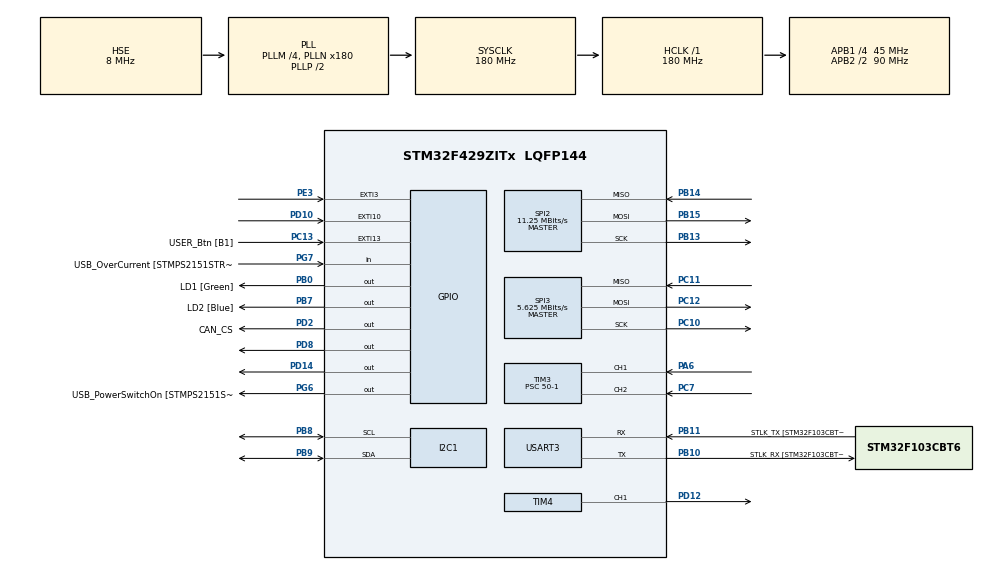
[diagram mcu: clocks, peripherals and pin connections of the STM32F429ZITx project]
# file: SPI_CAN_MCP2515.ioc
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Dma.Request0=TIM3_CH2
Dma.Request1=TIM3_CH1/TRIG
Dma.TIM3_CH1/TRIG.1.Direction=DMA_PERIPH_TO_MEMORY
Dma.TIM3_CH1/TRIG.1.FIFOMode=DMA_FIFOMODE_DISABLE
Dma.TIM3_CH1/TRIG.1.Instance=DMA1_Stream4
Dma.TIM3_CH1/TRIG.1.MemDataAlignment=DMA_MDATAALIGN_HALFWORD
Dma.TIM3_CH1/TRIG.1.MemInc=DMA_MINC_ENABLE
Dma.TIM3_CH1/TRIG.1.Mode=DMA_CIRCULAR
Dma.TIM3_CH1/TRIG.1.PeriphDataAlignment=DMA_PDATAALIGN_HALFWORD
Dma.TIM3_CH1/TRIG.1.PeriphInc=DMA_PINC_DISABLE
Dma.TIM3_CH1/TRIG.1.Priority=DMA_PRIORITY_LOW
Dma.TIM3_CH2.0.Direction=DMA_PERIPH_TO_MEMORY
Dma.TIM3_CH2.0.FIFOMode=DMA_FIFOMODE_DISABLE
Dma.TIM3_CH2.0.Instance=DMA1_Stream5
Dma.TIM3_CH2.0.MemDataAlignment=DMA_MDATAALIGN_HALFWORD
Dma.TIM3_CH2.0.MemInc=DMA_MINC_ENABLE
Dma.TIM3_CH2.0.Mode=DMA_CIRCULAR
Dma.TIM3_CH2.0.PeriphDataAlignment=DMA_PDATAALIGN_HALFWORD
Dma.TIM3_CH2.0.PeriphInc=DMA_PINC_DISABLE
Dma.TIM3_CH2.0.Priority=DMA_PRIORITY_LOW
Mcu.Family=STM32F4
Mcu.Name=STM32F429ZITx
Mcu.Package=LQFP144
NVIC.DMA1_Stream4_IRQn=true\:0\:0\:false\:false\:true\:false\:true
NVIC.DMA1_Stream5_IRQn=true\:0\:0\:false\:false\:true\:false\:true
NVIC.EXTI15_10_IRQn=true\:0\:0\:false\:false\:true\:true\:true
NVIC.PriorityGroup=NVIC_PRIORITYGROUP_4
NVIC.SPI2_IRQn=true\:0\:0\:false\:false\:true\:true\:true
NVIC.SPI3_IRQn=true\:0\:0\:false\:false\:true\:true\:true
NVIC.TIM3_IRQn=true\:0\:0\:false\:false\:true\:true\:true
NVIC.USART3_IRQn=true\:0\:0\:false\:false\:true\:true\:true
PA1.GPIO_Label=RMII_REF_CLK [LAN8742A-CZ-TR_REFCLK0]
PA1.Signal=ETH_REF_CLK
PA10.GPIO_Label=USB_ID
PA10.Signal=USB_OTG_FS_ID
PA11.GPIO_Label=USB_DM
PA11.Signal=USB_OTG_FS_DM
PA12.GPIO_Label=USB_DP
PA12.Signal=USB_OTG_FS_DP
PA13.GPIO_Label=TMS
PA13.Mode=Serial_Wire
PA13.Signal=SYS_JTMS-SWDIO
PA14.GPIO_Label=TCK
PA14.Mode=Serial_Wire
PA14.Signal=SYS_JTCK-SWCLK
PA2.GPIO_Label=RMII_MDIO [LAN8742A-CZ-TR_MDIO]
PA2.Signal=ETH_MDIO
PA6.Signal=S_TIM3_CH1
PA7.GPIO_Label=RMII_CRS_DV [LAN8742A-CZ-TR_CRS_DV]
PA7.Signal=ETH_CRS_DV
PA8.GPIO_Label=USB_SOF [TP1]
PA8.Signal=USB_OTG_FS_SOF
PA9.GPIO_Label=USB_VBUS
PA9.Signal=USB_OTG_FS_VBUS
PB0.GPIO_Label=LD1 [Green]
PB0.Signal=GPIO_Output
PB10.GPIO_Label=STLK_RX [STM32F103CBT6_PA3]
PB10.Mode=Asynchronous
PB10.Signal=USART3_TX
PB11.GPIO_Label=STLK_TX [STM32F103CBT6_PA2]
PB11.Mode=Asynchronous
PB11.Signal=USART3_RX
PB13.Mode=Full_Duplex_Master
PB13.Signal=SPI2_SCK
PB14.Mode=Full_Duplex_Master
PB14.Signal=SPI2_MISO
PB15.Mode=Full_Duplex_Master
PB15.Signal=SPI2_MOSI
PB7.GPIO_Label=LD2 [Blue]
PB7.Signal=GPIO_Output
PB8.Mode=I2C
PB8.Signal=I2C1_SCL
PB9.Mode=I2C
PB9.Signal=I2C1_SDA
PC1.GPIO_Label=RMII_MDC [LAN8742A-CZ-TR_MDC]
PC1.Signal=ETH_MDC
PC10.Mode=Full_Duplex_Master
PC10.Signal=SPI3_SCK
PC11.Mode=Full_Duplex_Master
PC11.Signal=SPI3_MISO
PC12.Mode=Full_Duplex_Master
PC12.Signal=SPI3_MOSI
PC13.GPIO_Label=USER_Btn [B1]
PC13.Signal=GPXTI13
PC14/OSC32_IN.Mode=LSE-External-Oscillator
PC14/OSC32_IN.Signal=RCC_OSC32_IN
PC15/OSC32_OUT.Mode=LSE-External-Oscillator
PC15/OSC32_OUT.Signal=RCC_OSC32_OUT
PC4.GPIO_Label=RMII_RXD0 [LAN8742A-CZ-TR_RXD0]
PC4.Signal=ETH_RXD0
PC5.GPIO_Label=RMII_RXD1 [LAN8742A-CZ-TR_RXD1]
PC5.Signal=ETH_RXD1
PC7.Signal=S_TIM3_CH2
PD10.GPIO_PuPd=GPIO_PULLUP
PD10.Signal=GPXTI10
PD12.Signal=S_TIM4_CH1
PD14.Signal=GPIO_Output
PD2.GPIO_Label=CAN_CS
PD2.GPIO_Speed=GPIO_SPEED_FREQ_MEDIUM
PD2.PinState=GPIO_PIN_SET
PD2.Signal=GPIO_Output
PD8.GPIO_Speed=GPIO_SPEED_FREQ_MEDIUM
PD8.PinState=GPIO_PIN_SET
PD8.Signal=GPIO_Output
PE3.GPIO_PuPd=GPIO_PULLUP
PE3.Signal=GPXTI3
PG11.GPIO_Label=RMII_TX_EN [LAN8742A-CZ-TR_TXEN]
PG11.Signal=ETH_TX_EN
PG13.GPIO_Label=RMII_TXD0 [LAN8742A-CZ-TR_TXD0]
PG13.Signal=ETH_TXD0
PG6.GPIO_Label=USB_PowerSwitchOn [STMPS2151STR_EN]
PG6.Signal=GPIO_Output
PG7.GPIO_Label=USB_OverCurrent [STMPS2151STR_FAULT]
PG7.Signal=GPIO_Input
PH0/OSC_IN.GPIO_Label=MCO [STM32F103CBT6_PA8]
PH0/OSC_IN.Mode=HSE-External-Clock-Source
PH0/OSC_IN.Signal=RCC_OSC_IN
PH1/OSC_OUT.Mode=HSE-External-Clock-Source
PH1/OSC_OUT.Signal=RCC_OSC_OUT
ProjectManager.HeapSize=0x200
ProjectManager.StackSize=0x400
ProjectManager.TargetToolchain=MDK-ARM V5.27
RCC.48MHZClocksFreq_Value=90000000
RCC.AHBFreq_Value=180000000
RCC.APB1CLKDivider=RCC_HCLK_DIV4
RCC.APB1Freq_Value=45000000
RCC.APB1TimFreq_Value=90000000
RCC.APB2CLKDivider=RCC_HCLK_DIV2
RCC.APB2Freq_Value=90000000
RCC.APB2TimFreq_Value=180000000
RCC.CortexFreq_Value=180000000
RCC.HCLKFreq_Value=180000000
RCC.HSE_VALUE=8000000
RCC.HSI_VALUE=16000000
RCC.PLLM=4
RCC.PLLMUL=RCC_PLL_MUL9
RCC.PLLN=180
RCC.PLLSourceVirtual=RCC_PLLSOURCE_HSE
RCC.PRESCALERUSB=RCC_USBCLKSOURCE_PLL_DIV1_5
RCC.SYSCLKFreq_VALUE=180000000
RCC.SYSCLKSource=RCC_SYSCLKSOURCE_PLLCLK
RCC.SYSCLKSourceVirtual=RCC_SYSCLKSOURCE_PLLCLK
RCC.USBFreq_Value=48000000
RCC.VCOOutputFreq_Value=360000000
SH.S_TIM3_CH1.0=TIM3_CH1,Input_Capture1_from_TI1
SH.S_TIM3_CH2.0=TIM3_CH2,Input_Capture2_from_TI2
SH.S_TIM4_CH1.0=TIM4_CH1,PWM Generation1 CH1
SPI2.BaudRatePrescaler=SPI_BAUDRATEPRESCALER_4
SPI2.CalculateBaudRate=11.25 MBits/s
SPI2.Direction=SPI_DIRECTION_2LINES
SPI2.Mode=SPI_MODE_MASTER
SPI2.VirtualType=VM_MASTER
SPI3.BaudRatePrescaler=SPI_BAUDRATEPRESCALER_8
SPI3.CalculateBaudRate=5.625 MBits/s
SPI3.Direction=SPI_DIRECTION_2LINES
SPI3.Mode=SPI_MODE_MASTER
SPI3.VirtualType=VM_MASTER
TIM3.AutoReloadPreload=TIM_AUTORELOAD_PRELOAD_ENABLE
TIM3.Channel-Input_Capture1_from_TI1=TIM_CHANNEL_1
TIM3.Channel-Input_Capture2_from_TI2=TIM_CHANNEL_2
TIM3.ICFilter_CH1=15
TIM3.ICFilter_CH2=15
TIM3.ICPolarity_CH2=TIM_INPUTCHANNELPOLARITY_FALLING
TIM3.Period=60000-1
TIM3.Prescaler=50-1
TIM4.AutoReloadPreload=TIM_AUTORELOAD_PRELOAD_ENABLE
TIM4.Channel-PWM\ Generation1\ CH1=TIM_CHANNEL_1
TIM4.Period=60000-1
TIM4.Prescaler=75-1
TIM4.Pulse-PWM\ Generation1\ CH1=30000-1
USART3.VirtualMode=VM_ASYNC
VP_TIM3_VS_ClockSourceINT.Mode=Internal
VP_TIM4_VS_ClockSourceINT.Mode=Internal
VP_TIM7_VS_ClockSourceINT.Mode=Enable_Timer
board=NUCLEO-F429ZI

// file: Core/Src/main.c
/* USER CODE BEGIN Header */
/**
  ******************************************************************************
  * @file           : main.c
  * @brief          : Main program body
  ******************************************************************************
  * @attention
  *
  * Copyright (c) 2022 STMicroelectronics.
  * All rights reserved.
  *
  * This software is licensed under terms that can be found in the LICENSE file
  * in the root directory of this software component.
  * If no LICENSE file comes with this software, it is provided AS-IS.
  *
  ******************************************************************************
  */
/* USER CODE END Header */
#include "main.h"
#include "dma.h"
#include "i2c.h"
#include "spi.h"
#include "tim.h"
#include "usart.h"
#include "gpio.h"

/* USER CODE BEGIN Includes */
#include "stdio.h"
#include "CANSPI.h"
/* USER CODE END Includes */

/* USER CODE BEGIN PV */
uint32_t cnt = 0;
uCAN_MSG txMessage;
uCAN_MSG rxMessage;
uint8_t ReceiveDataArray[8];
/* USER CODE END PV */

void SystemClock_Config(void);
/* USER CODE BEGIN PFP */

/* We need to implement own __FILE struct */
/* FILE struct is used from __FILE */
struct __FILE {
    int dummy;
};

/* You need this if you want use printf */
/* Struct FILE is implemented in stdio.h */
FILE __stdout;

int fputc(int ch, FILE *f)
{
  /* Place your implementation of fputc here */
  /* e.g. write a character to the EVAL_COM1 and Loop until the end of transmission */
  HAL_UART_Transmit(&huart3, (uint8_t *)&ch, 1, 0xFFFF);

  return ch;
}

/* USER CODE END PFP */

int main(void)
{

  /* MCU Configuration--------------------------------------------------------*/

  /* Reset of all peripherals, Initializes the Flash interface and the Systick. */
  HAL_Init();

  /* Configure the system clock */
  SystemClock_Config();

  /* Initialize all configured peripherals */
  MX_GPIO_Init();
  MX_SPI2_Init();
  MX_TIM3_Init();
  MX_TIM7_Init();
  MX_DMA_Init();
  MX_USART3_UART_Init();
  MX_TIM4_Init();
  MX_SPI3_Init();
  MX_I2C1_Init();
  /* USER CODE BEGIN 2 */
	CANSPI_Initialize(OSC_8MHZ, 500);	// OSC, kbps
  /* USER CODE END 2 */

  /* Infinite loop */
  /* USER CODE BEGIN WHILE */

	txMessage.frame.idType = dSTANDARD_CAN_MSG_ID_2_0B;
	txMessage.frame.id = 0x00A;
	txMessage.frame.dlc = 8;
	txMessage.frame.data0 = 0;
	txMessage.frame.data1 = 1;
	txMessage.frame.data2 = 2;
	txMessage.frame.data3 = 3;
	txMessage.frame.data4 = 4;
	txMessage.frame.data5 = 5;
	txMessage.frame.data6 = 6;
	txMessage.frame.data7 = 8;

	// M0 -> F0, F1
	// M1 -> F2, F3, F4, F5
	// maskNumber, maskID, filterNumber, filterID
	CANSPI_SetMaskFilter(0, 0x7E7, 0, 0x1EF);	// RXB0 -> RXB1 Rollover Enable
	CANSPI_SetMaskFilter(1, 0x7E7, 2, 0x1EF);
	//CANSPI_SetMaskFilter(0, 0, 0, 0);

  while (1)
  {

		if(CANSPI_Receive(&rxMessage))
		{
			HAL_GPIO_TogglePin(GPIOB, GPIO_PIN_0);
			printf("%s\r\n", "Message Arrived");
			//sprintf();

			printf("%d\r\n", rxMessage.frame.idType);
			printf("%x\r\n", rxMessage.frame.idType);
			printf("%u\r\n", rxMessage.frame.id);
			printf("%x\r\n", rxMessage.frame.id);
			printf("0x%02x\r\n", rxMessage.frame.data0);
			printf("0x%02x\r\n", rxMessage.frame.data1);
			printf("0x%02x\r\n", rxMessage.frame.data2);
			printf("0x%02x\r\n", rxMessage.frame.data3);
			printf("0x%02x\r\n", rxMessage.frame.data4);
			printf("0x%02x\r\n", rxMessage.frame.data5);
			printf("0x%02x\r\n", rxMessage.frame.data6);
			printf("0x%02x\r\n", rxMessage.frame.data7);

			printf("==========================\r\n");
			if(rxMessage.frame.idType == (uint8_t)dSTANDARD_CAN_MSG_ID_2_0B)
				printf("ID Type : standard\r\n");
			else if(rxMessage.frame.idType == (uint8_t)dEXTENDED_CAN_MSG_ID_2_0B)
				printf("ID Type : extended\r\n");

			printf("ID  : %x\r\n", rxMessage.frame.id);
			printf("DLC : %d\r\n", rxMessage.frame.dlc);

			for(int i =0; i < sizeof(ReceiveDataArray); i++)
			{
				printf("Data-%d : 0x%02x\r\n", i, ReceiveDataArray[i]);
			}
			printf("==========================\r\n");

		}

		HAL_Delay(1000);
    /* USER CODE END WHILE */

  }
}

void SystemClock_Config(void)
{
  RCC_OscInitTypeDef RCC_OscInitStruct = {0};
  RCC_ClkInitTypeDef RCC_ClkInitStruct = {0};

  /** Configure the main internal regulator output voltage
  */
  __HAL_RCC_PWR_CLK_ENABLE();
  __HAL_PWR_VOLTAGESCALING_CONFIG(PWR_REGULATOR_VOLTAGE_SCALE1);
  /** Initializes the RCC Oscillators according to the specified parameters
  * in the RCC_OscInitTypeDef structure.
  */
  RCC_OscInitStruct.OscillatorType = RCC_OSCILLATORTYPE_HSE;
  RCC_OscInitStruct.HSEState = RCC_HSE_BYPASS;
  RCC_OscInitStruct.PLL.PLLState = RCC_PLL_ON;
  RCC_OscInitStruct.PLL.PLLSource = RCC_PLLSOURCE_HSE;
  RCC_OscInitStruct.PLL.PLLM = 4;
  RCC_OscInitStruct.PLL.PLLN = 180;
  RCC_OscInitStruct.PLL.PLLP = RCC_PLLP_DIV2;
  RCC_OscInitStruct.PLL.PLLQ = 4;
  if (HAL_RCC_OscConfig(&RCC_OscInitStruct) != HAL_OK)
  {
    Error_Handler();
  }
  /** Activate the Over-Drive mode
  */
  if (HAL_PWREx_EnableOverDrive() != HAL_OK)
  {
    Error_Handler();
  }
  /** Initializes the CPU, AHB and APB buses clocks
  */
  RCC_ClkInitStruct.ClockType = RCC_CLOCKTYPE_HCLK|RCC_CLOCKTYPE_SYSCLK
                              |RCC_CLOCKTYPE_PCLK1|RCC_CLOCKTYPE_PCLK2;
  RCC_ClkInitStruct.SYSCLKSource = RCC_SYSCLKSOURCE_PLLCLK;
  RCC_ClkInitStruct.AHBCLKDivider = RCC_SYSCLK_DIV1;
  RCC_ClkInitStruct.APB1CLKDivider = RCC_HCLK_DIV4;
  RCC_ClkInitStruct.APB2CLKDivider = RCC_HCLK_DIV2;

  if (HAL_RCC_ClockConfig(&RCC_ClkInitStruct, FLASH_LATENCY_5) != HAL_OK)
  {
    Error_Handler();
  }
}

/* USER CODE BEGIN 4 */

void HAL_SPI_RxCpltCallback(SPI_HandleTypeDef *hspi)
{
	if(CANSPI_Receive(&rxMessage))
		{
			HAL_GPIO_TogglePin(GPIOB, GPIO_PIN_0);
			printf("%s\r\n", "Message Arrived");
			//sprintf();

			printf("%d\r\n", rxMessage.frame.idType);
			printf("%x\r\n", rxMessage.frame.idType);
			printf("%u\r\n", rxMessage.frame.id);
			printf("%x\r\n", rxMessage.frame.id);
			printf("0x%02x\r\n", rxMessage.frame.data0);
			printf("0x%02x\r\n", rxMessage.frame.data1);
			printf("0x%02x\r\n", rxMessage.frame.data2);
			printf("0x%02x\r\n", rxMessage.frame.data3);
			printf("0x%02x\r\n", rxMessage.frame.data4);
			printf("0x%02x\r\n", rxMessage.frame.data5);
			printf("0x%02x\r\n", rxMessage.frame.data6);
			printf("0x%02x\r\n", rxMessage.frame.data7);

			printf("==========================\r\n");
			if(rxMessage.frame.idType == (uint8_t)dSTANDARD_CAN_MSG_ID_2_0B)
				printf("ID Type : standard\r\n");
			else if(rxMessage.frame.idType == (uint8_t)dEXTENDED_CAN_MSG_ID_2_0B)
				printf("ID Type : extended\r\n");

			printf("ID  : %x\r\n", rxMessage.frame.id);
			printf("DLC : %d\r\n", rxMessage.frame.dlc);

			for(int i =0; i < sizeof(ReceiveDataArray); i++)
			{
				printf("Data-%d : 0x%02x\r\n", i, ReceiveDataArray[i]);
			}
			printf("==========================\r\n");

		}
}

void HAL_GPIO_EXTI_Callback(uint16_t GPIO_Pin)
{
	static uint32_t temp = 0;
	if(GPIO_Pin == GPIO_PIN_10)
	{
		if(HAL_GetTick() - temp > 100){
			printf("%s\r\n", "PIN_10 Pressed");
			HAL_GPIO_TogglePin(GPIOB, GPIO_PIN_7);
			txMessage.frame.data7 = 8 + cnt;
			cnt++;

			CANSPI_Transmit(&txMessage);
		}
		while(HAL_GPIO_ReadPin(GPIOD, GPIO_PIN_10) == GPIO_PIN_RESET)
		{

		}
		temp = HAL_GetTick();
	}
}
/* USER CODE END 4 */

void Error_Handler(void)
{
  __disable_irq();
  while (1)
  {
  }
}
